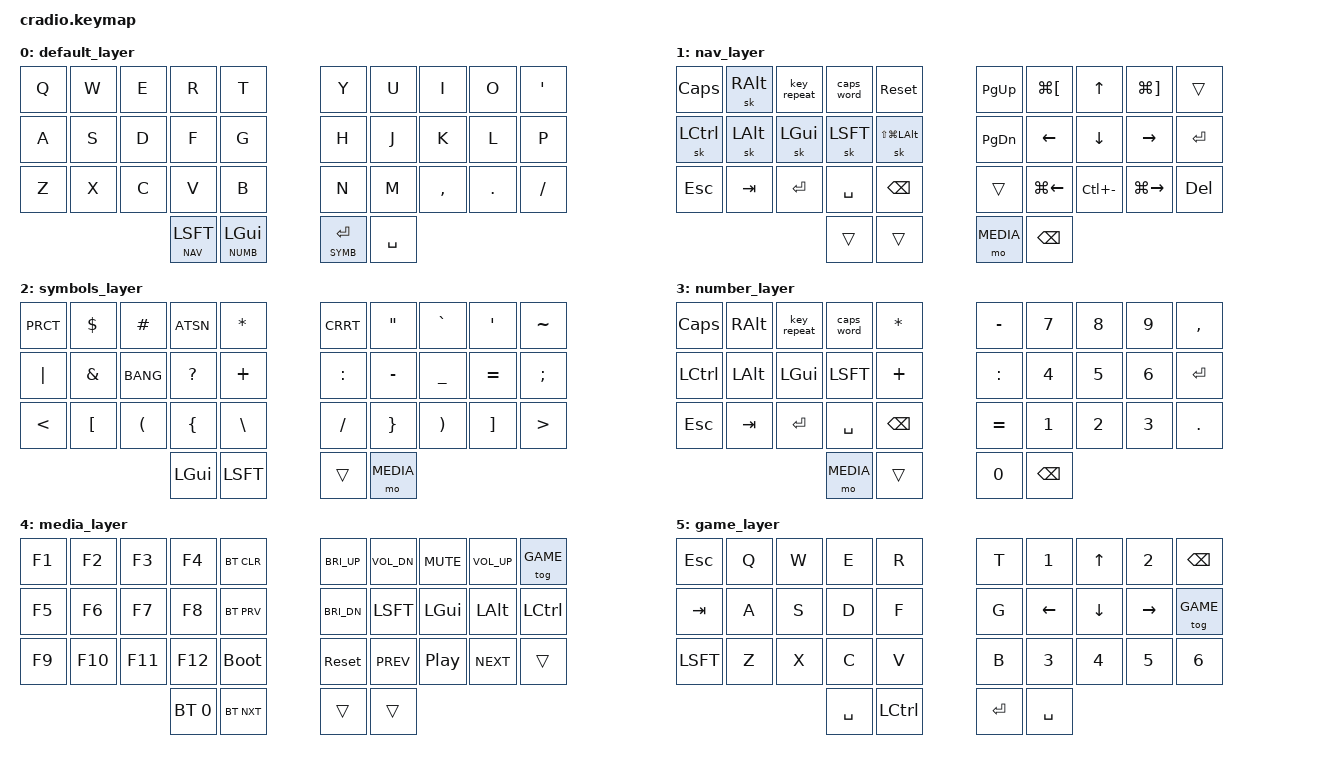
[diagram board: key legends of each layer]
/*
 * Copyright (c) 2020 The ZMK Contributors
 *
 * SPDX-License-Identifier: MIT
 */

#include <behaviors.dtsi>
#include <dt-bindings/zmk/keys.h>
#include <dt-bindings/zmk/bt.h>

#define DEFAULT 0
#define NAV 1
#define SYMB 2
#define NUMB 3
#define MEDIA 4
#define GAME 5

&sk {
  release-after-ms = <500>;
  quick-release;
};

&sl {
  release-after-ms = <500>;
};

/ { 
  behaviors {
    uspace: underscore_space {
        compatible = "zmk,behavior-mod-morph";
        label = "UNDERSCORE_SPACE";
        #binding-cells = <0>;
        bindings = <&kp SPC>, <&kp UNDER>;
        mods = <(MOD_LSFT)>;
    };
    hlt: hold_layer_tap {
      compatible = "zmk,behavior-hold-tap";
      label = "HOLD_LAYER_TAP";
      #binding-cells = <2>;
      flavor = "hold-preferred";
      tapping-term-ms = <150>;
      bindings = <&mo>, <&kp>;
    };
    ml: mod_layer {
      compatible = "zmk,behavior-hold-tap";
      label = "MOD_LAYER";
      #binding-cells = <2>;
      flavor = "hold-preferred";
      tapping-term-ms = <150>;
      bindings = <&mo>, <&sk>;
    };
    hrm: home_row_mod {
        compatible = "zmk,behavior-hold-tap";
        label = "HOME_ROW_MOD";
        #binding-cells = <2>;
        flavor = "tap-preferred";
        tapping-term-ms = <200>;
        quick-tap-ms = <200>;
        require-prior-idle-ms = <125>;
        bindings = <&kp>, <&kp>;
    };
  };

  keymap {
    compatible = "zmk,keymap";
    default_layer {
      bindings = <
        // &hrm LCTL A  &hrm LALT S  &hrm LGUI D  &hrm LSFT F  &kp G           &kp H  &hrm LSFT J  &hrm LGUI K  &hrm LALT L  &hrm LCTL P
        &kp Q        &kp W        &kp E        &kp R        &kp T           &kp Y  &kp U        &kp I        &kp O        &kp QUOT 
        &kp A        &kp S        &kp D        &kp F        &kp G           &kp H  &kp J        &kp K        &kp L        &kp P   
        &kp Z        &kp X        &kp C        &kp V        &kp B           &kp N  &kp M        &kp CMMA     &kp DOT      &kp FSLH
                                      &ml NAV LSFT  &ml NUMB LGUI           &hlt SYMB ENTER  &kp SPACE
      >;
    };

    nav_layer {
      bindings = <
        &kp CAPS  &sk RALT  &key_repeat   &caps_word  &sys_reset        &kp PG_UP     &kp LG(LBKT)    &kp UP          &kp LG(RBKT)    &trans 
        &sk LCTL  &sk LALT  &sk LGUI      &sk LSFT    &sk LS(LG(LALT))  &kp PG_DN     &kp LEFT        &kp DOWN        &kp RIGHT       &kp ENTER
        &kp ESC   &kp TAB   &kp ENTER     &kp SPC     &kp BKSP          &trans        &kp LG(LEFT)    &kp LC(MINUS)   &kp LG(RIGHT)   &kp DEL 
                                          &trans  &trans                &mo MEDIA  &kp BKSP
      >;
    };
      
    symbols_layer { // doubles / ? < > ' " (semi/colon to default?)
      bindings = <
        &kp PRCT  &kp DLLR  &kp HASH    &kp ATSN  &kp STAR        &kp CRRT    &kp DQT   &kp GRAV    &kp QUOT   &kp TILDE
        &kp PIPE  &kp AMPS  &kp BANG   &kp QMARK  &kp PLUS        &kp COLON   &kp MINUS  &kp UNDER   &kp EQUAL   &kp SEMI
        &kp LT    &kp LBKT  &kp LPAR    &kp LBRC  &kp BSLH        &kp FSLH    &kp RBRC  &kp RPAR    &kp RBKT    &kp GT
                                        &kp LGUI  &kp LSFT        &trans  &mo MEDIA 
      >;
    };	

    number_layer {
      bindings = <
        &kp CAPS  &kp RALT  &key_repeat   &caps_word  &kp STAR       &kp MINUS  &kp N7  &kp N8  &kp N9  &kp CMMA
        &kp LCTL  &kp LALT  &kp LGUI      &kp LSFT    &kp PLUS       &kp COLON  &kp N4  &kp N5  &kp N6  &kp ENTER 
        &kp ESC   &kp TAB   &kp ENTER     &kp SPC     &kp BKSP       &kp EQUAL  &kp N1  &kp N2  &kp N3  &kp DOT   
                                          &mo MEDIA  &trans          &kp N0 &kp BKSP
      >;
    };

    media_layer {
      bindings = <
        &kp F1  &kp F2    &kp F3    &kp F4    &bt BT_CLR            &kp C_BRI_UP  &kp C_VOL_DN  &kp C_MUTE  &kp C_VOL_UP  &tog GAME
        &kp F5  &kp F6    &kp F7    &kp F8    &bt BT_PRV            &kp C_BRI_DN  &kp LSFT      &kp LGUI    &kp LALT      &kp LCTL 
        &kp F9  &kp F10   &kp F11   &kp F12   &bootloader           &sys_reset    &kp C_PREV    &kp C_PP    &kp C_NEXT    &trans   
                                &bt BT_SEL 0 &bt BT_NXT             &trans &trans
      >;
    };

game_layer {
      bindings = <
        &kp ESC  &kp Q  &kp W  &kp E  &kp R             &kp T  &kp N1  &kp UP  &kp N2  &kp BKSP 
        &kp TAB  &kp A  &kp S  &kp D  &kp F             &kp G  &kp LEFT  &kp DOWN  &kp RIGHT  &tog GAME
        &kp LSFT  &kp Z  &kp X  &kp C  &kp V            &kp B  &kp N3  &kp N4  &kp N5  &kp N6
                          &kp SPC &kp LCTL              &kp ENTER  &kp SPC
        >;
    };
  };
};
